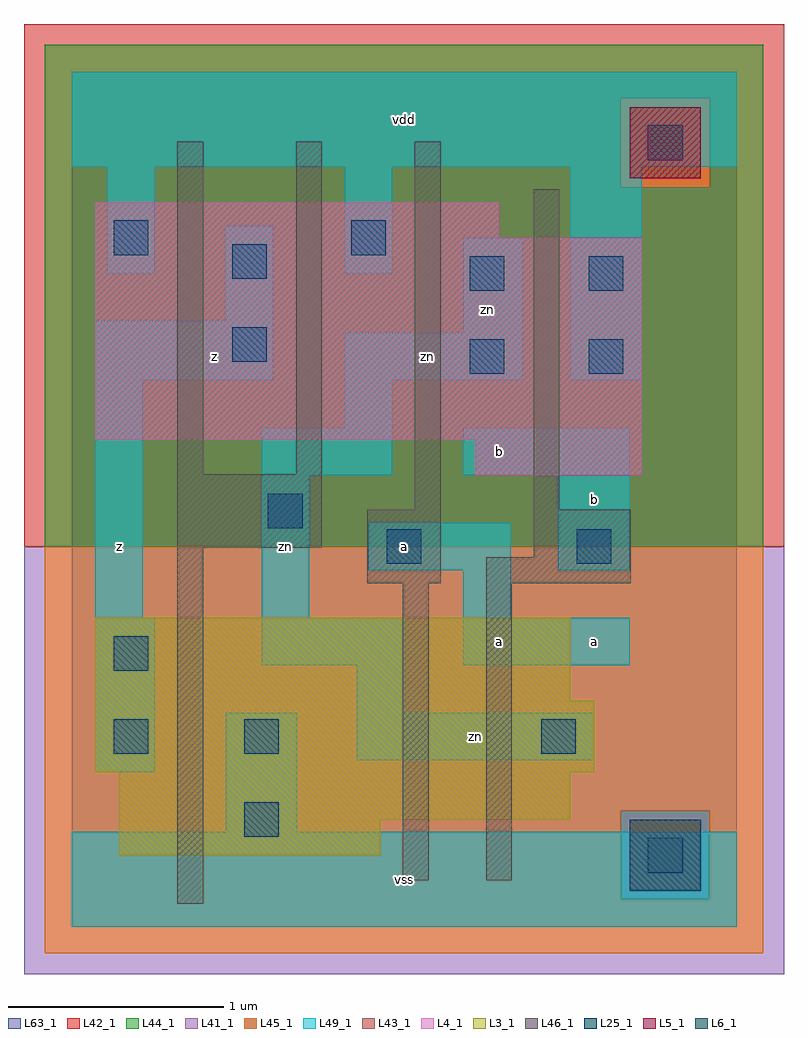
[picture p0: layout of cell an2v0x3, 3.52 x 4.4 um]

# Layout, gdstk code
import gdstk
lib = gdstk.Library(unit=1e-6, precision=1e-09)
def R(c, l, rs):  # rectangles x0, y0, x1, y1
    for r in rs: c.add(gdstk.rectangle(r[:2], r[2:], *l))
L3_1 = (3, 1)
L4_1 = (4, 1)
L5_1 = (5, 1)
L6_1 = (6, 1)
L25_1 = (25, 1)
L41_1 = (41, 1)
L42_1 = (42, 1)
L43_1 = (43, 1)
L44_1 = (44, 1)
L45_1 = (45, 1)
L46_1 = (46, 1)
L49_1 = (49, 1)
L63_1 = (63, 1)

an2v0x3 = lib.new_cell('an2v0x3')
R(an2v0x3, L3_1, [(0.22,0.33,1.43,0.495), (0.22,0.495,2.31,0.715), (0.11,0.715,2.42,1.045), (0.11,1.045,2.31,1.43)])
R(an2v0x3, L4_1, [(1.87,2.09,2.64,2.255), (0.11,2.255,2.64,3.19), (0.11,3.19,1.98,3.355)])
R(an2v0x3, L5_1, [(2.585,3.465,2.915,3.795)])
R(an2v0x3, L6_1, [(2.585,0.165,2.915,0.495)])
R(an2v0x3, L25_1, [(2.67,0.25,2.83,0.41), (0.8,0.415,0.96,0.575), (0.195,0.8,0.355,0.96), (0.8,0.8,0.96,0.96), (2.175,0.8,2.335,0.96), (0.195,1.185,0.355,1.345), (1.46,1.68,1.62,1.84), (2.34,1.68,2.5,1.84), (0.91,1.845,1.07,2.005), (1.845,2.56,2.005,2.72), (2.395,2.56,2.555,2.72), (0.745,2.615,0.905,2.775), (1.845,2.945,2.005,3.105), (2.395,2.945,2.555,3.105), (0.745,3,0.905,3.16), (0.195,3.11,0.355,3.27), (1.295,3.11,1.455,3.27), (2.67,3.55,2.83,3.71)])
R(an2v0x3, L41_1, [(-0.22,-0.22,3.3,1.76)])
R(an2v0x3, L42_1, [(-0.22,1.76,3.3,4.18)])
R(an2v0x3, L43_1, [(2.585,0.165,2.915,0.495), (0.22,0.33,1.43,0.495), (0.22,0.495,2.31,0.715), (0.11,0.715,2.42,1.045), (0.11,1.045,2.31,1.43), (1.87,2.09,2.64,2.255), (0.11,2.255,2.64,3.19), (0.11,3.19,1.98,3.355), (2.585,3.465,2.915,3.795)])
R(an2v0x3, L44_1, [(2.545,0.125,2.955,0.535), (-0.125,1.76,3.205,3.425), (-0.125,3.425,2.545,3.835), (2.955,3.425,3.205,3.835), (-0.125,3.835,3.205,4.085)])
R(an2v0x3, L45_1, [(-0.125,-0.125,3.205,0.125), (-0.125,0.125,2.545,0.535), (2.955,0.125,3.205,0.535), (-0.125,0.535,3.205,1.76), (2.545,3.425,2.955,3.835)])
R(an2v0x3, L46_1, [(0.49,0.105,0.61,1.755), (1.535,0.215,1.655,1.59), (1.92,0.215,2.04,1.59), (1.37,1.59,1.71,1.93), (1.92,1.59,2.59,1.71), (2.14,1.71,2.59,1.93), (0.49,1.755,1.16,2.095), (1.59,1.93,1.71,3.635), (2.14,1.93,2.26,3.415), (0.49,2.095,0.61,3.635), (1.04,2.095,1.16,3.635)])
R(an2v0x3, L49_1, [(0,0,3.08,0.44), (0.715,0.44,1.045,0.99), (0.11,0.715,0.385,1.43), (1.32,0.77,2.42,0.99), (1.32,0.99,1.54,1.21), (0.88,1.21,1.54,1.43), (1.815,1.21,2.585,1.43), (0.11,1.43,0.33,2.53), (0.88,1.43,1.1,2.09), (1.815,1.43,2.035,1.65), (1.375,1.65,2.035,1.87), (2.255,1.65,2.585,2.09), (0.88,2.09,1.485,2.31), (1.815,2.09,2.585,2.31), (1.265,2.31,1.485,2.53), (0.11,2.53,0.935,2.805), (1.265,2.53,2.09,2.75), (2.31,2.53,2.64,3.52), (1.815,2.75,2.09,3.19), (0.715,2.805,0.935,3.245), (0.165,3.025,0.385,3.52), (1.265,3.025,1.485,3.52), (0,3.52,3.08,3.96)])
R(an2v0x3, L63_1, [(0,0,3.08,3.96)])
an2v0x3.add(gdstk.Label('z', (0.22,1.76), layer=49, texttype=1))
an2v0x3.add(gdstk.Label('zn', (0.99,1.76), layer=49, texttype=1))
an2v0x3.add(gdstk.Label('z', (0.66,2.64), layer=49, texttype=1))
an2v0x3.add(gdstk.Label('vss', (1.54,0.22), layer=49, texttype=1))
an2v0x3.add(gdstk.Label('a', (1.54,1.76), layer=49, texttype=1))
an2v0x3.add(gdstk.Label('a', (1.98,1.32), layer=49, texttype=1))
an2v0x3.add(gdstk.Label('b', (1.98,2.2), layer=49, texttype=1))
an2v0x3.add(gdstk.Label('zn', (1.65,2.64), layer=49, texttype=1))
an2v0x3.add(gdstk.Label('zn', (1.925,2.86), layer=49, texttype=1))
an2v0x3.add(gdstk.Label('vdd', (1.54,3.74), layer=49, texttype=1))
an2v0x3.add(gdstk.Label('zn', (1.87,0.88), layer=49, texttype=1))
an2v0x3.add(gdstk.Label('a', (2.42,1.32), layer=49, texttype=1))
an2v0x3.add(gdstk.Label('b', (2.42,1.98), layer=49, texttype=1))

lib.write_gds('an2v0x3.gds')
